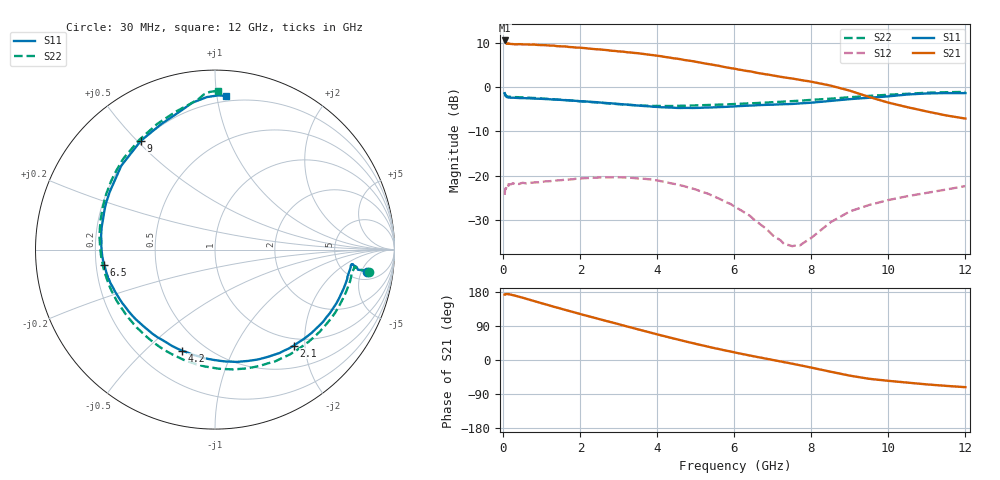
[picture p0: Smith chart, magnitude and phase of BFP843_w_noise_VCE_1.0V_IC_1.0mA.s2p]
! Infineon Technologies  Discrete & RF Semiconductors
! BFP843
! VCE =  1.0 V,  IC =  1.0 mA
! Common Emitter S-Parameters:  Aug 2013
# GHz  S  MA  R  50
!  f  S11  S21  S12  S22
! GHz  MAG  ANG  MAG  ANG  MAG  ANG  MAG  ANG
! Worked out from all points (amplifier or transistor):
!   103 points, 30 MHz to 12 GHz, reference 50 ohm
!   highest |S21| = 10.6 dB at 30 MHz (marker M1)
!   |S21| within 3 dB of that: start of sweep to 3.588 GHz
!   unconditionally stable (mu >= 1): 96.16 MHz to 1.286 GHz; 3.043 GHz to end of sweep
!   at 400 MHz: K = 1.04, MAG = 14.6 dB, |S12| = -21.9 dB
!   at 3.7 GHz: K = 1.08, MAG = 12.4 dB, |S12| = -20.8 dB
!   at 12 GHz: K = 1.08, MAG = 5.9 dB, |S12| = -22.4 dB
!   lowest NFmin = 1.52 dB at 450 MHz
!   S11 on the Smith chart (normalised r, x): 30 MHz: 6.76, -6.46; 2.1 GHz: 0.87, -1.78; 4.2 GHz: 0.38, -0.66; 6.5 GHz: 0.23, -0.06; 9 GHz: 0.19, +0.51; 12 GHz: 0.16, +1.06
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0.03  0.8571 -8.5  3.387 172.5  0.0605 38.7  0.8666 -8.2
0.07  0.7873 -6.7  3.132 173.9  0.0726 19.8  0.7957 -7.3
0.13  0.7704 -6.1  3.108 173.9  0.0767 11.0  0.781 -7.5
0.8  0.7446 -19.4  3.044 155.4  0.0837 0.0  0.7562 -27.8
1.3  0.7264 -31.2  2.961 140.8  0.0873 -3.6  0.7318 -44.6
1.6  0.7141 -38.4  2.899 132.3  0.09 -6.0  0.7175 -54.7
2.1  0.6918 -50.7  2.777 118.4  0.0936 -12.1  0.6896 -71.6
2.5  0.6721 -60.7  2.682 107.6  0.0954 -17.1  0.6683 -84.9
3.1  0.641 -76.4  2.534 91.5  0.0954 -26.1  0.6396 -105.2
3.5  0.6206 -87.3  2.427 80.8  0.0927 -33.2  0.6243 -118.8
4.1  0.5936 -104.9  2.244 64.9  0.0863 -43.3  0.6137 -138.4
4.2  0.5922 -107.9  2.202 62.4  0.0848 -45.0  0.6139 -141.3
5  0.5839 -132.7  1.943 42.5  0.0696 -58.0  0.6232 -163.1
5.5  0.5928 -147.3  1.778 30.9  0.0575 -65.3  0.6337 -175.1
6.1  0.612 -162.3  1.588 18.0  0.0422 -70.3  0.6489 171.9
6.5  0.6228 -172.3  1.485 9.9  0.0321 -69.6  0.6607 163.8
7.5  0.6476 163.8  1.255 -9.7  0.0159 -29.4  0.697 144.7
8.5  0.7007 138.2  1.044 -31.0  0.0297 13.8  0.7429 124.7
9  0.7342 124.2  0.914 -41.3  0.0394 12.8  0.7711 114.6
9.5  0.761 113.1  0.776 -49.6  0.0465 9.1  0.7983 106.1
10.5  0.8285 98.7  0.594 -59.7  0.0586 3.8  0.844 96.2
12  0.8585 86.0  0.442 -71.7  0.0761 -6.4  0.8855 88.8
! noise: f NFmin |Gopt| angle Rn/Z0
0.45  1.52  0.46  10  0.26
0.9  1.58  0.47  20  0.28
1.5  1.7  0.47  32  0.31
1.9  1.8  0.47  40  0.39
2.4  1.95  0.45  51  0.48
3.5  2.01  0.41  76  0.69
5.5  2.21  0.34  145  0.83
10  4.25  0.67  -90  0.89
